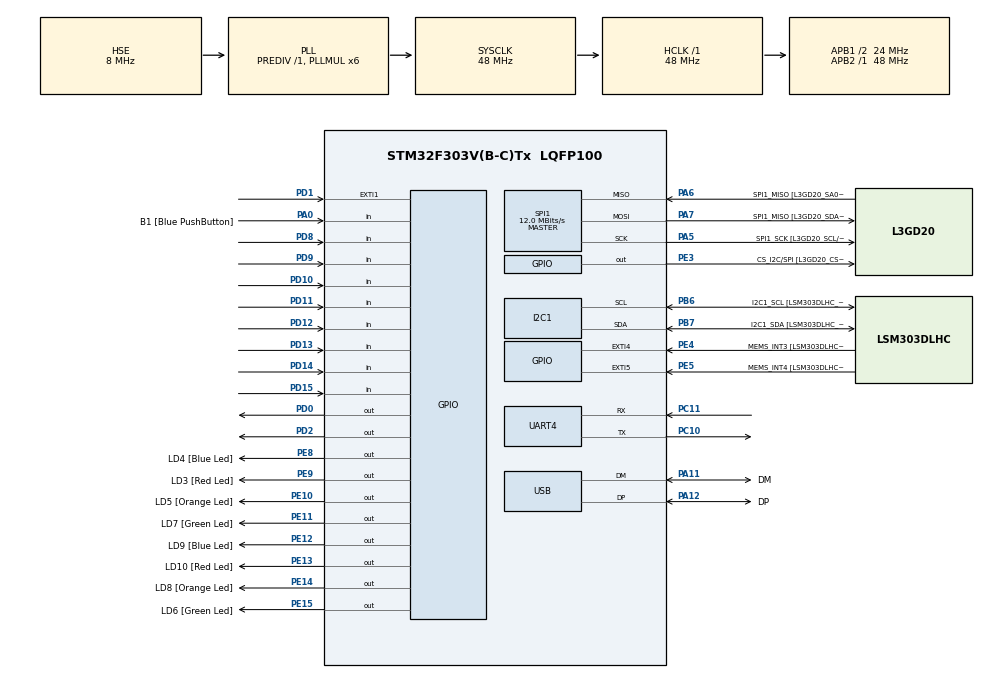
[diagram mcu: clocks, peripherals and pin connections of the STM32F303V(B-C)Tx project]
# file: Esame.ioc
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Mcu.Family=STM32F3
PA6.Mode=Full_Duplex_Master
RCC.CortexFreq_Value=48000000
SPI1.VirtualType=VM_MASTER
PE11.GPIO_Label=LD7 [Green Led]
PC10.Signal=UART4_TX
PA14.GPIO_Label=SWCLK
RCC.SYSCLKSourceVirtual=RCC_SYSCLKSOURCE_PLLCLK
PA0.GPIO_Label=B1 [Blue PushButton]
PA11.Mode=Device
PA6.GPIO_Label=SPI1_MISO [L3GD20_SA0/SDO]
PB6.GPIO_Label=I2C1_SCL [LSM303DLHC_SCL]
PC15-OSC32_OUT.GPIO_Label=OSC32_OUT
ProjectManager.StackSize=0x400
SPI1.Mode-Full_Duplex_Master=SPI_MODE_MASTER
PD13.Signal=GPIO_Input
PD1.GPIO_ModeDefaultEXTI=GPIO_MODE_IT_FALLING
NVIC.EXTI1_IRQn=true\:1\:0\:true\:false\:true\:true\:true
PA12.Signal=USB_DP
SPI1.Direction=SPI_DIRECTION_2LINES
RCC.HCLKFreq_Value=48000000
RCC.APB2TimFreq_Value=48000000
PB6.Signal=I2C1_SCL
PB6.Mode=I2C
SPI1.CalculateBaudRate=12.0 MBits/s
PD0.Signal=GPIO_Output
PD8.Signal=GPIO_Input
PE5.Signal=GPXTI5
RCC.AHBFreq_Value=48000000
RCC.HSE_VALUE=8000000
PF0-OSC_IN.GPIO_Label=OSC_IN
RCC.PLLMUL=RCC_PLL_MUL6
PE13.Signal=GPIO_Output
PE9.Signal=GPIO_Output
PA14.Mode=Serial_Wire
PE4.GPIO_Label=MEMS_INT3 [LSM303DLHC_INT1]
PB7.Signal=I2C1_SDA
PE10.Signal=GPIO_Output
PE4.Signal=GPXTI4
SPI1.CalculateBaudRate-Full_Duplex_Master=24.0 MBits/s
PA0.Signal=GPIO_Input
PB7.GPIO_Label=I2C1_SDA [LSM303DLHC_SDA]
Mcu.Package=LQFP100
PA6.Signal=SPI1_MISO
PD12.Signal=GPIO_Input
PE12.GPIO_Label=LD9 [Blue Led]
PC11.Mode=Asynchronous
RCC.APB1TimFreq_Value=48000000
PC14-OSC32_IN.GPIO_Label=OSC32_IN
PE10.GPIO_Label=LD5 [Orange Led]
SPI1.BaudRatePrescaler=SPI_BAUDRATEPRESCALER_4
PD15.Signal=GPIO_Input
PF1-OSC_OUT.Signal=RCC_OSC_OUT
NVIC.UART4_IRQn=true\:2\:0\:true\:false\:true\:true\:true
PA5.Mode=Full_Duplex_Master
PB3.GPIO_Label=SWO
PA7.Mode=Full_Duplex_Master
PC11.Signal=UART4_RX
PC10.Mode=Asynchronous
PE4.GPIO_ModeDefaultEXTI=GPIO_MODE_EVT_RISING
PD1.Signal=GPXTI1
PA11.GPIO_Label=DM
PE14.GPIO_Label=LD8 [Orange Led]
PD9.Signal=GPIO_Input
RCC.APB1CLKDivider=RCC_HCLK_DIV2
PC14-OSC32_IN.Signal=RCC_OSC32_IN
PA12.GPIO_Label=DP
PD10.Signal=GPIO_Input
PA13.Signal=SYS_JTMS-SWDIO
PE15.GPIO_Label=LD6 [Green Led]
ProjectManager.TargetToolchain=STM32CubeIDE
PE5.GPIO_ModeDefaultEXTI=GPIO_MODE_EVT_RISING
PE8.GPIO_Label=LD4 [Blue Led]
I2C1.Timing=0x2000090E
RCC.USBFreq_Value=48000000
PE11.Signal=GPIO_Output
RCC.LSE_VALUE=32768
PC15-OSC32_OUT.Signal=RCC_OSC32_OUT
PE9.GPIO_Label=LD3 [Red Led]
PF0-OSC_IN.Mode=HSE-External-Clock-Source
PA5.Signal=SPI1_SCK
PD2.PinState=GPIO_PIN_RESET
board=STM32F3DISCOVERY
RCC.APB2Freq_Value=48000000
PE14.Signal=GPIO_Output
PE15.Signal=GPIO_Output
PE8.Signal=GPIO_Output
SPI1.Mode=SPI_MODE_MASTER
PF1-OSC_OUT.GPIO_Label=OSC_OUT
I2C1.Timing-I2C=0x2000090E
PA13.Mode=Serial_Wire
Mcu.Name=STM32F303V(B-C)Tx
PE12.Signal=GPIO_Output
PA13.GPIO_Label=SWDIO
PD14.Signal=GPIO_Input
PB3.Signal=SYS_JTDO-TRACESWO
RCC.SYSCLKFreq_VALUE=48000000
PA7.GPIO_Label=SPI1_MISO [L3GD20_SDA/SDI/SDO]
PE13.GPIO_Label=LD10 [Red Led]
PA12.Mode=Device
PA5.GPIO_Label=SPI1_SCK [L3GD20_SCL/SPC]
PD11.Signal=GPIO_Input
PE5.GPIO_Label=MEMS_INT4 [LSM303DLHC_INT2]
PA11.Signal=USB_DM
PB7.Mode=I2C
PA14.Signal=SYS_JTCK-SWCLK
ProjectManager.HeapSize=0x200
RCC.HSI_VALUE=8000000
NVIC.PriorityGroup=NVIC_PRIORITYGROUP_2
PE3.Signal=GPIO_Output
PE3.GPIO_Label=CS_I2C/SPI [L3GD20_CS_I2C/SPI]
PF0-OSC_IN.Signal=RCC_OSC_IN
PD2.Signal=GPIO_Output
RCC.APB1Freq_Value=24000000
SPI1.BaudRatePrescaler-Full_Duplex_Master=SPI_BAUDRATEPRESCALER_2
PA7.Signal=SPI1_MOSI

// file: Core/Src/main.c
/* USER CODE BEGIN Header */
/**
  ******************************************************************************
  * @file           : main.c
  * @brief          : Main program body
  ******************************************************************************
  * @attention
  *
  * <h2><center>&copy; Copyright (c) 2021 STMicroelectronics.
  * All rights reserved.</center></h2>
  *
  * This software component is licensed by ST under BSD 3-Clause license,
  * the "License"; You may not use this file except in compliance with the
  * License. You may obtain a copy of the License at:
  *                        opensource.org/licenses/BSD-3-Clause
  *
  ******************************************************************************
  */
/* USER CODE END Header */
#include "main.h"

/* USER CODE BEGIN PM */
#define M 10	//Numero di messaggi da ricevere
#define N 10	//Lunghezza in bytes di ogni messaggio
/* USER CODE END PM */

I2C_HandleTypeDef hi2c1;

SPI_HandleTypeDef hspi1;

UART_HandleTypeDef huart4;

PCD_HandleTypeDef hpcd_USB_FS;

void SystemClock_Config(void);
static void MX_GPIO_Init(void);
static void MX_I2C1_Init(void);
static void MX_SPI1_Init(void);
static void MX_USB_PCD_Init(void);
static void MX_UART4_Init(void);
/* USER CODE BEGIN PFP */
uint8_t cont_pia = 0;
uint8_t susp = 0;

uint8_t data_pia_rx = 0;

uint8_t data_uart_rx[M][N];
uint8_t data_uart_tx = 0xFF;

uint8_t cont_uart = 0;
/* USER CODE END PFP */

/* USER CODE BEGIN 0 */

/*funzione utilizzata per l'accensione dei led in base al messaggio ricevuto*/
void write_led(uint8_t dato)
{
	HAL_GPIO_WritePin(GPIOE, GPIO_PIN_8, (dato & 1 ) ? GPIO_PIN_SET : GPIO_PIN_RESET);
	HAL_GPIO_WritePin(GPIOE, GPIO_PIN_9, ((dato >> 1) & 1 ? GPIO_PIN_SET : GPIO_PIN_RESET));
	HAL_GPIO_WritePin(GPIOE, GPIO_PIN_10, ((dato >> 2) & 1  ? GPIO_PIN_SET : GPIO_PIN_RESET));
	HAL_GPIO_WritePin(GPIOE, GPIO_PIN_11, ((dato >> 3) & 1 ? GPIO_PIN_SET : GPIO_PIN_RESET));
	HAL_GPIO_WritePin(GPIOE, GPIO_PIN_12, ((dato >> 4) & 1 ? GPIO_PIN_SET : GPIO_PIN_RESET));
	HAL_GPIO_WritePin(GPIOE, GPIO_PIN_13, ((dato >> 5) & 1 ? GPIO_PIN_SET : GPIO_PIN_RESET));
	HAL_GPIO_WritePin(GPIOE, GPIO_PIN_14, ((dato >> 6) & 1 ? GPIO_PIN_SET : GPIO_PIN_RESET));
	HAL_GPIO_WritePin(GPIOE, GPIO_PIN_15, ((dato >> 7) & 1 ? GPIO_PIN_SET : GPIO_PIN_RESET));
}

/*funzione utilizzata per leggere gli 8 bit ricevuti dalla pia*/
void read_pia()
{
	HAL_GPIO_WritePin(GPIOD, GPIO_PIN_2, GPIO_PIN_SET); //alza il segnale di busy
	data_pia_rx = 0;
	data_pia_rx |= (uint8_t) (HAL_GPIO_ReadPin(GPIOD, GPIO_PIN_8)<<0);
	data_pia_rx |= (uint8_t) (HAL_GPIO_ReadPin(GPIOD, GPIO_PIN_9)<<1);
	data_pia_rx |= (uint8_t) (HAL_GPIO_ReadPin(GPIOD, GPIO_PIN_10)<<2);
	data_pia_rx |= (uint8_t) (HAL_GPIO_ReadPin(GPIOD, GPIO_PIN_11)<<3);
	data_pia_rx |= (uint8_t) (HAL_GPIO_ReadPin(GPIOD, GPIO_PIN_12)<<4);
	data_pia_rx |= (uint8_t) (HAL_GPIO_ReadPin(GPIOD, GPIO_PIN_13)<<5);
	data_pia_rx |= (uint8_t) (HAL_GPIO_ReadPin(GPIOD, GPIO_PIN_14)<<6);
	data_pia_rx |= (uint8_t) (HAL_GPIO_ReadPin(GPIOD, GPIO_PIN_15)<<7);
	HAL_GPIO_WritePin(GPIOD, GPIO_PIN_2, GPIO_PIN_RESET); //abbassa il segnale di busy
	//HAL_GPIO_WritePin(GPIOD, GPIO_PIN_2, GPIO_PIN_SET);
	HAL_GPIO_WritePin(GPIOD, GPIO_PIN_0, GPIO_PIN_SET); //alza il segnale di ack

}

/*ISR di ricezione della pia scatenata dalla variazione sul fronte di discesa del segnale di STROBE*/
void HAL_GPIO_EXTI_Callback(uint16_t GPIO_Pin)
{
	if(susp) //Qui ci vorrebbe un semaforo
		return;

	read_pia();
	write_led(data_pia_rx);

	cont_pia++;
	if(cont_pia == 2){
		susp = 1;
	}
}

/*ISR di ricezione dell'UART utilizzata per accendere i led e per inviare il messaggio di conferma di avvenuta ricezione */
void HAL_UART_RxCpltCallback(UART_HandleTypeDef *huart)
{
	if(susp) //Qui ci vorrebbe un semaforo
		return;

	HAL_Delay(1000); //Aspetto 1 secondi tra un messaggio e un altro

	for(uint8_t i = 0; i<N; i++){
		write_led(data_uart_rx[cont_uart][i]);
		HAL_Delay(1000);
	}

	cont_uart++;

	if (cont_uart == M)
		return;

	if(data_uart_rx[cont_uart-1][N-1] == 0x00)
		return;

	HAL_UART_Transmit_IT(huart, &data_uart_tx, sizeof(uint8_t)); //messaggio di conferma
}

/*ISR scaturita dall'avvenuta trasmissione del messaggio di conferma. È in questo punto che la periferica si predispone alla ricezione */
void HAL_UART_TxCpltCallback(UART_HandleTypeDef *huart)
{
	HAL_UART_Receive_IT(huart, data_uart_rx[cont_uart], N*sizeof(uint8_t));
}
/* USER CODE END 0 */

int main(void)
{

  /* MCU Configuration--------------------------------------------------------*/

  /* Reset of all peripherals, Initializes the Flash interface and the Systick. */
  HAL_Init();

  /* Configure the system clock */
  SystemClock_Config();

  /* Initialize all configured peripherals */
  MX_GPIO_Init();
  MX_I2C1_Init();
  MX_SPI1_Init();
  MX_USB_PCD_Init();
  MX_UART4_Init();
  /* USER CODE BEGIN 2 */
  //HAL_GPIO_WritePin(GPIOD, GPIO_PIN_2, GPIO_PIN_SET);ù
  HAL_GPIO_WritePin(GPIOD, GPIO_PIN_2, GPIO_PIN_RESET);
  HAL_UART_Receive_IT(&huart4, data_uart_rx[cont_uart], N*sizeof(uint8_t));

  /* USER CODE END 2 */

  /* Infinite loop */
  while (1)
  {

  }
}

void SystemClock_Config(void)
{
  RCC_OscInitTypeDef RCC_OscInitStruct = {0};
  RCC_ClkInitTypeDef RCC_ClkInitStruct = {0};
  RCC_PeriphCLKInitTypeDef PeriphClkInit = {0};

  /** Initializes the RCC Oscillators according to the specified parameters
  * in the RCC_OscInitTypeDef structure.
  */
  RCC_OscInitStruct.OscillatorType = RCC_OSCILLATORTYPE_HSI|RCC_OSCILLATORTYPE_HSE;
  RCC_OscInitStruct.HSEState = RCC_HSE_BYPASS;
  RCC_OscInitStruct.HSEPredivValue = RCC_HSE_PREDIV_DIV1;
  RCC_OscInitStruct.HSIState = RCC_HSI_ON;
  RCC_OscInitStruct.HSICalibrationValue = RCC_HSICALIBRATION_DEFAULT;
  RCC_OscInitStruct.PLL.PLLState = RCC_PLL_ON;
  RCC_OscInitStruct.PLL.PLLSource = RCC_PLLSOURCE_HSE;
  RCC_OscInitStruct.PLL.PLLMUL = RCC_PLL_MUL6;
  if (HAL_RCC_OscConfig(&RCC_OscInitStruct) != HAL_OK)
  {
    Error_Handler();
  }
  /** Initializes the CPU, AHB and APB buses clocks
  */
  RCC_ClkInitStruct.ClockType = RCC_CLOCKTYPE_HCLK|RCC_CLOCKTYPE_SYSCLK
                              |RCC_CLOCKTYPE_PCLK1|RCC_CLOCKTYPE_PCLK2;
  RCC_ClkInitStruct.SYSCLKSource = RCC_SYSCLKSOURCE_PLLCLK;
  RCC_ClkInitStruct.AHBCLKDivider = RCC_SYSCLK_DIV1;
  RCC_ClkInitStruct.APB1CLKDivider = RCC_HCLK_DIV2;
  RCC_ClkInitStruct.APB2CLKDivider = RCC_HCLK_DIV1;

  if (HAL_RCC_ClockConfig(&RCC_ClkInitStruct, FLASH_LATENCY_1) != HAL_OK)
  {
    Error_Handler();
  }
  PeriphClkInit.PeriphClockSelection = RCC_PERIPHCLK_USB|RCC_PERIPHCLK_UART4
                              |RCC_PERIPHCLK_I2C1;
  PeriphClkInit.Uart4ClockSelection = RCC_UART4CLKSOURCE_PCLK1;
  PeriphClkInit.I2c1ClockSelection = RCC_I2C1CLKSOURCE_HSI;
  PeriphClkInit.USBClockSelection = RCC_USBCLKSOURCE_PLL;
  if (HAL_RCCEx_PeriphCLKConfig(&PeriphClkInit) != HAL_OK)
  {
    Error_Handler();
  }
}

static void MX_I2C1_Init(void)
{

  hi2c1.Instance = I2C1;
  hi2c1.Init.Timing = 0x2000090E;
  hi2c1.Init.OwnAddress1 = 0;
  hi2c1.Init.AddressingMode = I2C_ADDRESSINGMODE_7BIT;
  hi2c1.Init.DualAddressMode = I2C_DUALADDRESS_DISABLE;
  hi2c1.Init.OwnAddress2 = 0;
  hi2c1.Init.OwnAddress2Masks = I2C_OA2_NOMASK;
  hi2c1.Init.GeneralCallMode = I2C_GENERALCALL_DISABLE;
  hi2c1.Init.NoStretchMode = I2C_NOSTRETCH_DISABLE;
  if (HAL_I2C_Init(&hi2c1) != HAL_OK)
  {
    Error_Handler();
  }
  /** Configure Analogue filter
  */
  if (HAL_I2CEx_ConfigAnalogFilter(&hi2c1, I2C_ANALOGFILTER_ENABLE) != HAL_OK)
  {
    Error_Handler();
  }
  /** Configure Digital filter
  */
  if (HAL_I2CEx_ConfigDigitalFilter(&hi2c1, 0) != HAL_OK)
  {
    Error_Handler();
  }

}

static void MX_SPI1_Init(void)
{

  /* SPI1 parameter configuration*/
  hspi1.Instance = SPI1;
  hspi1.Init.Mode = SPI_MODE_MASTER;
  hspi1.Init.Direction = SPI_DIRECTION_2LINES;
  hspi1.Init.DataSize = SPI_DATASIZE_4BIT;
  hspi1.Init.CLKPolarity = SPI_POLARITY_LOW;
  hspi1.Init.CLKPhase = SPI_PHASE_1EDGE;
  hspi1.Init.NSS = SPI_NSS_SOFT;
  hspi1.Init.BaudRatePrescaler = SPI_BAUDRATEPRESCALER_4;
  hspi1.Init.FirstBit = SPI_FIRSTBIT_MSB;
  hspi1.Init.TIMode = SPI_TIMODE_DISABLE;
  hspi1.Init.CRCCalculation = SPI_CRCCALCULATION_DISABLE;
  hspi1.Init.CRCPolynomial = 7;
  hspi1.Init.CRCLength = SPI_CRC_LENGTH_DATASIZE;
  hspi1.Init.NSSPMode = SPI_NSS_PULSE_ENABLE;
  if (HAL_SPI_Init(&hspi1) != HAL_OK)
  {
    Error_Handler();
  }

}

static void MX_UART4_Init(void)
{

  huart4.Instance = UART4;
  huart4.Init.BaudRate = 115200;
  huart4.Init.WordLength = UART_WORDLENGTH_8B;
  huart4.Init.StopBits = UART_STOPBITS_1;
  huart4.Init.Parity = UART_PARITY_NONE;
  huart4.Init.Mode = UART_MODE_TX_RX;
  huart4.Init.HwFlowCtl = UART_HWCONTROL_NONE;
  huart4.Init.OverSampling = UART_OVERSAMPLING_16;
  huart4.Init.OneBitSampling = UART_ONE_BIT_SAMPLE_DISABLE;
  huart4.AdvancedInit.AdvFeatureInit = UART_ADVFEATURE_NO_INIT;
  if (HAL_UART_Init(&huart4) != HAL_OK)
  {
    Error_Handler();
  }

}

static void MX_USB_PCD_Init(void)
{

  hpcd_USB_FS.Instance = USB;
  hpcd_USB_FS.Init.dev_endpoints = 8;
  hpcd_USB_FS.Init.speed = PCD_SPEED_FULL;
  hpcd_USB_FS.Init.phy_itface = PCD_PHY_EMBEDDED;
  hpcd_USB_FS.Init.low_power_enable = DISABLE;
  hpcd_USB_FS.Init.battery_charging_enable = DISABLE;
  if (HAL_PCD_Init(&hpcd_USB_FS) != HAL_OK)
  {
    Error_Handler();
  }

}

static void MX_GPIO_Init(void)
{
  GPIO_InitTypeDef GPIO_InitStruct = {0};

  /* GPIO Ports Clock Enable */
  __HAL_RCC_GPIOE_CLK_ENABLE();
  __HAL_RCC_GPIOC_CLK_ENABLE();
  __HAL_RCC_GPIOF_CLK_ENABLE();
  __HAL_RCC_GPIOA_CLK_ENABLE();
  __HAL_RCC_GPIOD_CLK_ENABLE();
  __HAL_RCC_GPIOB_CLK_ENABLE();

  /*Configure GPIO pin Output Level */
  HAL_GPIO_WritePin(GPIOE, CS_I2C_SPI_Pin|LD4_Pin|LD3_Pin|LD5_Pin
                          |LD7_Pin|LD9_Pin|LD10_Pin|LD8_Pin
                          |LD6_Pin, GPIO_PIN_RESET);

  /*Configure GPIO pin Output Level */
  HAL_GPIO_WritePin(GPIOD, GPIO_PIN_0|GPIO_PIN_2, GPIO_PIN_RESET);

  /*Configure GPIO pins : CS_I2C_SPI_Pin LD4_Pin LD3_Pin LD5_Pin
                           LD7_Pin LD9_Pin LD10_Pin LD8_Pin
                           LD6_Pin */
  GPIO_InitStruct.Pin = CS_I2C_SPI_Pin|LD4_Pin|LD3_Pin|LD5_Pin
                          |LD7_Pin|LD9_Pin|LD10_Pin|LD8_Pin
                          |LD6_Pin;
  GPIO_InitStruct.Mode = GPIO_MODE_OUTPUT_PP;
  GPIO_InitStruct.Pull = GPIO_NOPULL;
  GPIO_InitStruct.Speed = GPIO_SPEED_FREQ_LOW;
  HAL_GPIO_Init(GPIOE, &GPIO_InitStruct);

  /*Configure GPIO pins : MEMS_INT3_Pin MEMS_INT4_Pin */
  GPIO_InitStruct.Pin = MEMS_INT3_Pin|MEMS_INT4_Pin;
  GPIO_InitStruct.Mode = GPIO_MODE_EVT_RISING;
  GPIO_InitStruct.Pull = GPIO_NOPULL;
  HAL_GPIO_Init(GPIOE, &GPIO_InitStruct);

  /*Configure GPIO pin : B1_Pin */
  GPIO_InitStruct.Pin = B1_Pin;
  GPIO_InitStruct.Mode = GPIO_MODE_INPUT;
  GPIO_InitStruct.Pull = GPIO_NOPULL;
  HAL_GPIO_Init(B1_GPIO_Port, &GPIO_InitStruct);

  /*Configure GPIO pins : PD8 PD9 PD10 PD11
                           PD12 PD13 PD14 PD15 */
  GPIO_InitStruct.Pin = GPIO_PIN_8|GPIO_PIN_9|GPIO_PIN_10|GPIO_PIN_11
                          |GPIO_PIN_12|GPIO_PIN_13|GPIO_PIN_14|GPIO_PIN_15;
  GPIO_InitStruct.Mode = GPIO_MODE_INPUT;
  GPIO_InitStruct.Pull = GPIO_NOPULL;
  HAL_GPIO_Init(GPIOD, &GPIO_InitStruct);

  /*Configure GPIO pins : PD0 PD2 */
  GPIO_InitStruct.Pin = GPIO_PIN_0|GPIO_PIN_2;
  GPIO_InitStruct.Mode = GPIO_MODE_OUTPUT_PP;
  GPIO_InitStruct.Pull = GPIO_NOPULL;
  GPIO_InitStruct.Speed = GPIO_SPEED_FREQ_LOW;
  HAL_GPIO_Init(GPIOD, &GPIO_InitStruct);

  /*Configure GPIO pin : PD1 */
  GPIO_InitStruct.Pin = GPIO_PIN_1;
  GPIO_InitStruct.Mode = GPIO_MODE_IT_FALLING;
  GPIO_InitStruct.Pull = GPIO_NOPULL;
  HAL_GPIO_Init(GPIOD, &GPIO_InitStruct);

  /* EXTI interrupt init*/
  HAL_NVIC_SetPriority(EXTI1_IRQn, 1, 0);
  HAL_NVIC_EnableIRQ(EXTI1_IRQn);

}

void Error_Handler(void)
{
  __disable_irq();
  while (1)
  {
  }
}

/************************ (C) COPYRIGHT STMicroelectronics *****END OF FILE****/
